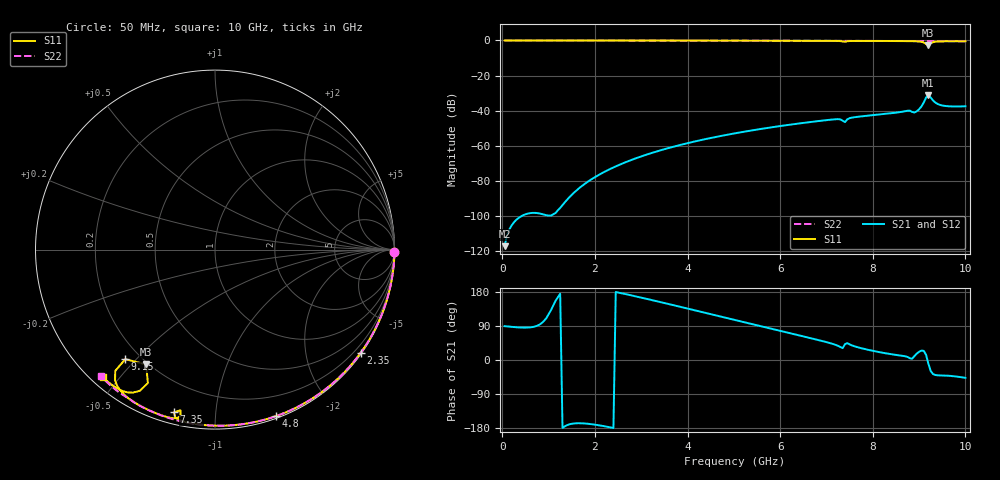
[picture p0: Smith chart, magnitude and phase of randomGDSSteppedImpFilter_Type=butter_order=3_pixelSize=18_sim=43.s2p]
! freq	dB(S11)	phase(S11)	dB(S12)	phase(S12)
!  dB(S21)	phase(S21)	dB(S22)	phase(S22)
!S-par simulation data
#  GHz  S  DB  R 50
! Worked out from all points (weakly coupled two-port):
!   200 points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, 50 MHz to 10 GHz, reference 50 ohm
!   highest |S21| = -31.31 dB at 9.2 GHz (marker M1); lowest = -117.4 dB at 50 MHz (marker M2)
!   lowest |S11| = -2.5 dB at 9.2 GHz (marker M3), VSWR 6.87, Z = 9.55 - j27.5 ohm
!   |S11| at or under -10 dB: nowhere
!   |S22| runs from -0.4 to 0.0 dB; largest |S21 - S12| = 0
!   S11 on the Smith chart (normalised r, x): 50 MHz: open; 2.35 GHz: 0.03, -3.13; 4.8 GHz: 0.02, -1.43; 7.35 GHz: 0.05, -0.78; 9.15 GHz: 0.14, -0.47; 10 GHz: 0.03, -0.45
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0.05  -0.00 -0.8  -117.38 89.3  -117.38 89.3  -0.00 -0.8
1.75  -0.03 -26.5  -82.42 -167.2  -82.42 -167.2  -0.03 -26.4
1.9  -0.04 -28.8  -79.66 -169.0  -79.66 -169.0  -0.04 -28.6
2.35  -0.05 -35.4  -73.07 -178.2  -73.07 -178.2  -0.05 -35.2
3.4  -0.07 -50.5  -62.81 153.3  -62.81 153.3  -0.07 -50.2
4.8  -0.10 -69.8  -54.08 112.2  -54.08 112.2  -0.10 -69.4
5.05  -0.11 -73.1  -52.86 104.8  -52.86 104.8  -0.11 -72.7
6.7  -0.18 -94.5  -46.39 56.4  -46.39 56.4  -0.18 -93.6
7.25  -0.28 -102.3  -44.91 37.3  -44.91 37.3  -0.21 -100.3
7.35  -0.58 -104.1  -45.81 31.4  -45.81 31.4  -0.22 -101.5
7.4  -0.77 -102.1  -46.57 41.8  -46.57 41.8  -0.22 -102.1
7.45  -0.46 -101.7  -45.01 44.5  -45.01 44.5  -0.22 -102.7
7.6  -0.27 -104.5  -43.81 36.3  -43.81 36.3  -0.23 -104.5
8.35  -0.30 -114.6  -41.67 16.2  -41.67 16.2  -0.29 -113.3
8.75  -0.37 -120.4  -40.10 8.0  -40.10 8.0  -0.33 -118.0
8.9  -0.45 -123.2  -41.11 10.5  -41.11 10.5  -0.36 -119.6
9.05  -0.77 -127.5  -37.69 24.6  -37.69 24.6  -0.36 -121.3
9.15  -2.06 -129.3  -32.65 14.0  -32.65 14.0  -0.37 -122.4
9.2  -2.55 -120.9  -31.31 -9.4  -31.31 -9.4  -0.36 -123.0
9.3  -0.99 -118.1  -34.20 -37.0  -34.20 -37.0  -0.37 -124.2
9.45  -0.54 -122.7  -36.76 -40.7  -36.76 -40.7  -0.39 -125.9
10  -0.47 -131.3  -37.56 -47.0  -37.56 -47.0  -0.45 -132.2
